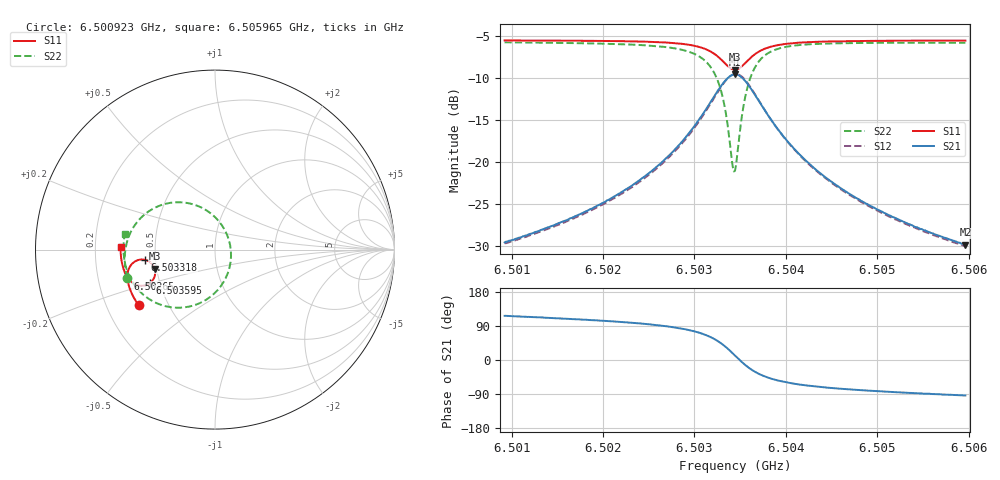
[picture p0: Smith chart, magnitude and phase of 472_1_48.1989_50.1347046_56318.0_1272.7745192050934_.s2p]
#  HZ  S  RI  R  50.00
! Rohde & Schwarz Vector Network Analyzer
! Rohde-Schwarz,ZNB20-2Port,1311601062101988,3.16
! Created: UTC 3/20/2024, 11:57:11 AM
! freq[Hz]  re:S11  im:S11  re:S21  im:S21  re:S12  im:S12  re:S22  im:S22
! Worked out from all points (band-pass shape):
!   401 points, 6.500923 GHz to 6.505965 GHz, reference 50 ohm
!   highest |S21| = -9.61 dB at 6.503444 GHz (marker M1); lowest = -29.8 dB at 6.505965 GHz (marker M2)
!   |S21| within 3 dB of the highest: 6.503193 GHz to 6.503697 GHz (503.8 kHz wide, 0.00775 % of centre)
!   lowest |S11| = -9.1 dB at 6.503444 GHz (marker M3), VSWR 2.09, Z = 24.4 - j5.9 ohm
!   |S11| at or under -10 dB: nowhere
!   |S22| runs from -21.1 to -5.8 dB; largest |S21 - S12| = 0.012
!   S11 on the Smith chart (normalised r, x): 6.500923 GHz: 0.34, -0.29; 6.50265 GHz: 0.33, -0.14; 6.503318 GHz: 0.44, -0.06; 6.503595 GHz: 0.44, -0.20; 6.505965 GHz: 0.31, +0.01
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6.500923e9  -0.4253 -0.3107  -0.0149 0.0299  -0.0133 0.0302  -0.4886 -0.1576
6.5017676e9  -0.4618 -0.2485  -0.0142 0.0476  -0.0119 0.0472  -0.5025 -0.0684
6.5022341e9  -0.4782 -0.2074  -0.0114 0.0671  -0.00837 0.0659  -0.4997 -0.00249
6.5026122e9  -0.4873 -0.1656  -0.00238 0.0963  0.00112 0.0941  -0.4804 0.0727
6.5026501e9  -0.4877 -0.1607  -0.000796 0.1005  0.00291 0.0981  -0.4766 0.0821
6.5029274e9  -0.4838 -0.1178  0.0258 0.1428  0.0296 0.1387  -0.4216 0.168
6.5031165e9  -0.4626 -0.0796  0.0798 0.1853  0.0824 0.1791  -0.3182 0.2408
6.5032299e9  -0.43 -0.0587  0.1487 0.2033  0.1497 0.1968  -0.194 0.2636
6.5033182e9  -0.3895 -0.0568  0.2287 0.1873  0.229 0.1822  -0.0563 0.2239
6.503356e9  -0.3699 -0.0644  0.2652 0.1642  0.2662 0.1598  0.00414 0.1771
6.503419e9  -0.3429 -0.0913  0.3136 0.1001  0.3162 0.0953  0.0772 0.0539
6.5034442e9  -0.3364 -0.106  0.3239 0.0676  0.3274 0.062  0.0885 -0.00682
6.5034694e9  -0.3335 -0.1218  0.3277 0.0339  0.3315 0.027  0.0869 -0.0687
6.5035325e9  -0.3405 -0.1595  0.3097 -0.0448  0.312 -0.0549  0.0313 -0.2052
6.5035955e9  -0.3617 -0.1856  0.2663 -0.0996  0.2655 -0.111  -0.0662 -0.289
6.5036963e9  -0.4017 -0.2011  0.1911 -0.1359  0.1858 -0.1456  -0.2174 -0.3235
6.5038602e9  -0.4482 -0.1915  0.1089 -0.1327  0.1018 -0.1378  -0.3656 -0.2765
6.5040367e9  -0.4757 -0.1702  0.064 -0.1125  0.0577 -0.1148  -0.438 -0.2114
6.5042888e9  -0.4964 -0.1401  0.0341 -0.0879  0.0292 -0.0885  -0.4813 -0.139
6.5046418e9  -0.5114 -0.1031  0.0157 -0.0659  0.0125 -0.0656  -0.5031 -0.0682
6.5051334e9  -0.5214 -0.0576  0.00506 -0.048  0.00285 -0.0473  -0.5101 0.00171
6.5059654e9  -0.526 0.0129  -0.00202 -0.0323  -0.00338 -0.0315  -0.5023 0.0897
